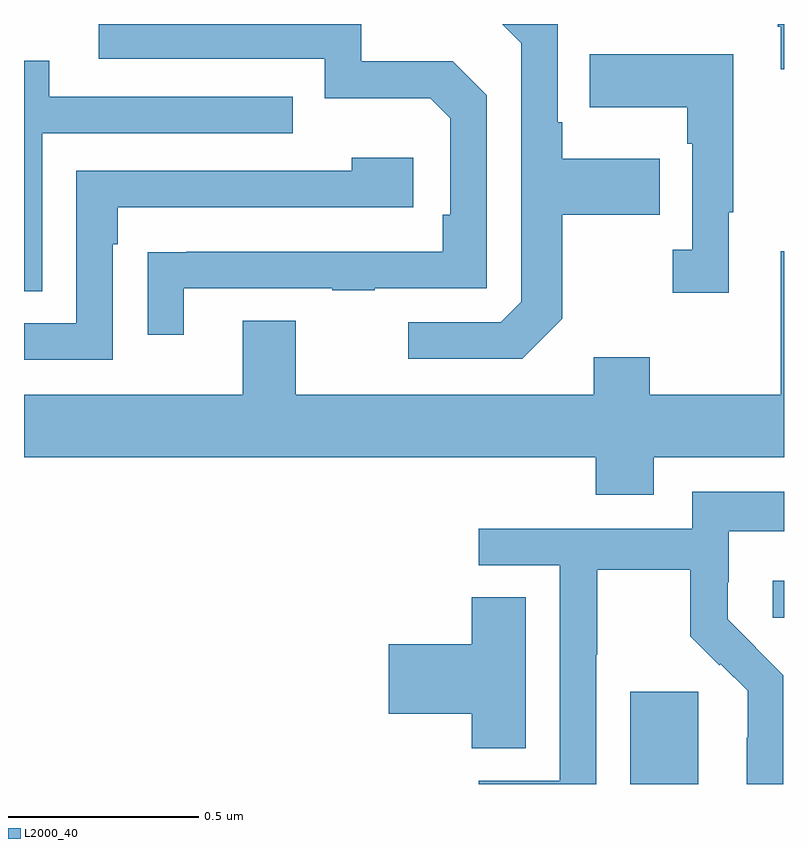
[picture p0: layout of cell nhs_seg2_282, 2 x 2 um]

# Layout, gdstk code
import gdstk
lib = gdstk.Library(unit=1e-6, precision=1e-09)
def R(c, l, rs):  # rectangles x0, y0, x1, y1
    for r in rs: c.add(gdstk.rectangle(r[:2], r[2:], *l))
def P(c, l, *ps):  # polygons
    for p in ps: c.add(gdstk.Polygon(p, *l))
L2000_40 = (2000, 40)

nhs_seg2_282 = lib.new_cell('nhs_seg2_282')
R(nhs_seg2_282, L2000_40, [(115.595,622.8,115.774,623.043), (115.971,623.238,116,623.335)])
P(nhs_seg2_282, L2000_40, [(116,624.8),(115.984,624.8),(115.984,624.793),(115.991,624.793),(115.991,624.681),(116,624.681)],
  [(114.421,624.105),(114.811,624.105),(114.811,624.1),(114.923,624.1),(114.923,624.105),(115.218,624.105),(115.218,624.612),(115.128,624.702),(114.888,624.702),(114.888,624.8),(114.197,624.8),(114.197,624.708),(114.792,624.708),(114.792,624.605),(115.069,624.605),(115.122,624.552),(115.122,624.298),(115.102,624.298),(115.102,624.201),(114.427,624.201),(114.427,624.2),(114.325,624.2),(114.325,623.982),(114.421,623.982)],
  [(115.417,624.025),(115.417,624.298),(115.673,624.298),(115.673,624.445),(115.417,624.445),(115.417,624.541),(115.404,624.541),(115.404,624.8),(115.258,624.8),(115.308,624.75),(115.308,624.069),(115.254,624.015),(115.011,624.015),(115.011,623.919),(115.311,623.919)],
  [(115.855,624.305),(115.867,624.305),(115.867,624.721),(115.489,624.721),(115.489,624.581),(115.746,624.581),(115.746,624.485),(115.758,624.485),(115.758,624.206),(115.707,624.206),(115.707,624.093),(115.855,624.093)],
  [(114.048,624.513),(114.707,624.513),(114.707,624.609),(114.067,624.609),(114.067,624.703),(114,624.703),(114,624.097),(114.048,624.097)],
  [(114.234,624.221),(114.247,624.221),(114.247,624.318),(115.024,624.318),(115.024,624.448),(114.863,624.448),(114.863,624.414),(114.138,624.414),(114.138,624.012),(114,624.012),(114,623.916),(114.234,623.916)],
  [(115.657,623.66),(116,623.66),(116,624.202),(115.991,624.202),(115.991,623.824),(115.647,623.824),(115.647,623.923),(115.499,623.923),(115.499,623.824),(114.715,623.824),(114.715,624.019),(114.575,624.019),(114.575,623.824),(114,623.824),(114,623.66),(115.505,623.66),(115.505,623.561),(115.657,623.561)],
  [(115.506,623.14),(115.509,623.14),(115.509,623.364),(115.753,623.364),(115.753,623.189),(115.83,623.112),(115.833,623.115),(115.904,623.045),(115.904,622.922),(115.902,622.922),(115.902,622.8),(115.998,622.8),(115.998,623.086),(115.925,623.159),(115.926,623.16),(115.852,623.234),(115.852,623.331),(115.854,623.331),(115.854,623.465),(116,623.465),(116,623.569),(115.758,623.569),(115.758,623.472),(115.197,623.472),(115.197,623.376),(115.41,623.376),(115.41,622.809),(115.197,622.809),(115.197,622.8),(115.506,622.8)],
  [(115.321,623.291),(115.178,623.291),(115.178,623.168),(114.96,623.168),(114.96,622.985),(115.178,622.985),(115.178,622.894),(115.321,622.894)])

lib.write_gds('nhs_seg2_282.gds')
